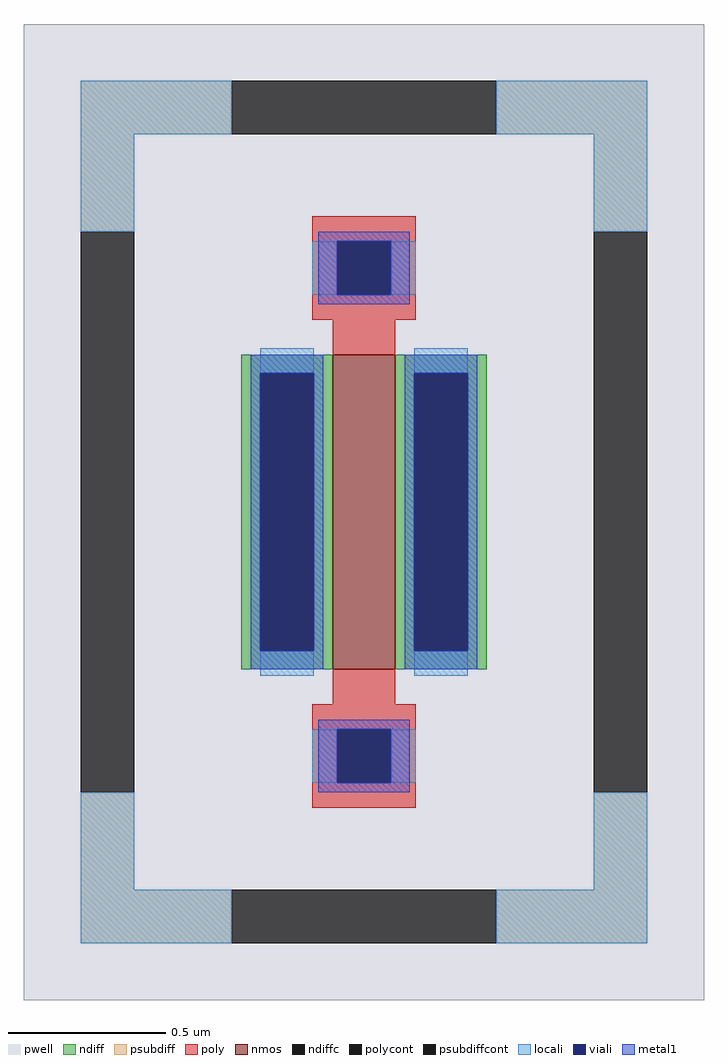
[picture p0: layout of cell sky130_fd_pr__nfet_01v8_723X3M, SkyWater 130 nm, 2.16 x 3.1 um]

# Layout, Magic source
magic
tech sky130A
magscale 1 2
<< pwell >>
rect -216 -310 216 310
<< nmos >>
rect -20 -100 20 100
<< ndiff >>
rect -78 88 -20 100
rect -78 -88 -66 88
rect -32 -88 -20 88
rect -78 -100 -20 -88
rect 20 88 78 100
rect 20 -88 32 88
rect 66 -88 78 88
rect 20 -100 78 -88
<< ndiffc >>
rect -66 -88 -32 88
rect 32 -88 66 88
<< psubdiff >>
rect -180 240 -84 274
rect 84 240 180 274
rect -180 178 -146 240
rect 146 178 180 240
rect -180 -240 -146 -178
rect 146 -240 180 -178
rect -180 -274 -84 -240
rect 84 -274 180 -240
<< psubdiffcont >>
rect -84 240 84 274
rect -180 -178 -146 178
rect 146 -178 180 178
rect -84 -274 84 -240
<< poly >>
rect -33 172 33 188
rect -33 138 -17 172
rect 17 138 33 172
rect -33 122 33 138
rect -20 100 20 122
rect -20 -122 20 -100
rect -33 -138 33 -122
rect -33 -172 -17 -138
rect 17 -172 33 -138
rect -33 -188 33 -172
<< polycont >>
rect -17 138 17 172
rect -17 -172 17 -138
<< locali >>
rect -180 240 -84 274
rect 84 240 180 274
rect -180 178 -146 240
rect 146 178 180 240
rect -33 138 -17 172
rect 17 138 33 172
rect -66 88 -32 104
rect -66 -104 -32 -88
rect 32 88 66 104
rect 32 -104 66 -88
rect -33 -172 -17 -138
rect 17 -172 33 -138
rect -180 -240 -146 -178
rect 146 -240 180 -178
rect -180 -274 -84 -240
rect 84 -274 180 -240
<< viali >>
rect -17 138 17 172
rect -66 -88 -32 88
rect 32 -88 66 88
rect -17 -172 17 -138
<< metal1 >>
rect -29 172 29 178
rect -29 138 -17 172
rect 17 138 29 172
rect -29 132 29 138
rect -72 88 -26 100
rect -72 -88 -66 88
rect -32 -88 -26 88
rect -72 -100 -26 -88
rect 26 88 72 100
rect 26 -88 32 88
rect 66 -88 72 88
rect 26 -100 72 -88
rect -29 -138 29 -132
rect -29 -172 -17 -138
rect 17 -172 29 -138
rect -29 -178 29 -172
<< properties >>
string FIXED_BBOX -163 -257 163 257
string gencell sky130_fd_pr__nfet_01v8
string library sky130
string parameters w 1.0 l 0.2 m 1 nf 1 diffcov 100 polycov 100 guard 1 glc 1 grc 1 gtc 1 gbc 1 tbcov 100 rlcov 100 topc 1 botc 1 poverlap 0 doverlap 1 lmin 0.15 wmin 0.42 compatible {sky130_fd_pr__nfet_01v8 sky130_fd_pr__nfet_01v8_lvt  sky130_fd_bs_flash__special_sonosfet_star  sky130_fd_pr__nfet_g5v0d10v5 sky130_fd_pr__nfet_05v0_nvt  sky130_fd_pr__nfet_03v3_nvt} full_metal 1 viasrc 100 viadrn 100 viagate 100 viagb 0 viagr 0 viagl 0 viagt 0
<< end >>
